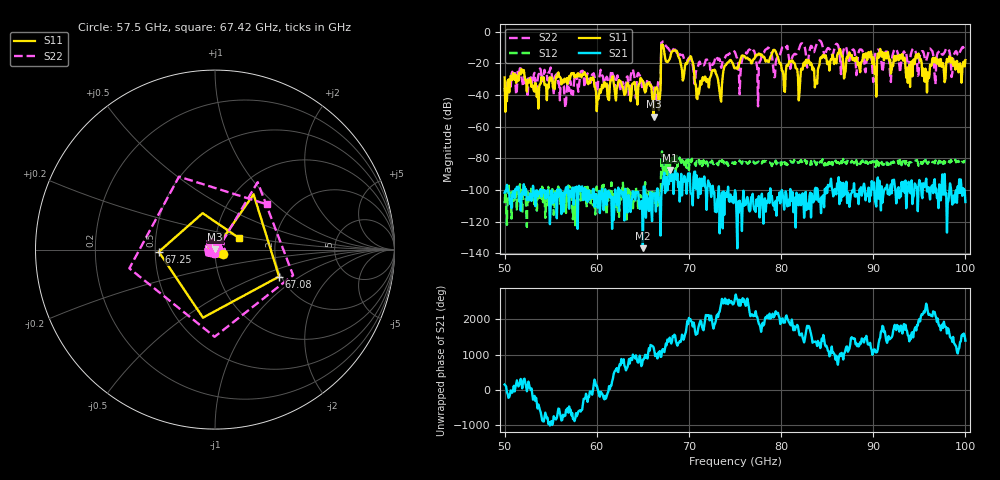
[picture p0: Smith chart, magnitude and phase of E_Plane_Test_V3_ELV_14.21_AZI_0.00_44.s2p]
! 11/26/2026 4:28:55 PM
! C:\ANRITSUVNA\TEMP\TEMP.S2P
! CHANNEL.1
! TR.MEASUREMENT
! RAW.DATA
# HZ S RI R 50.0
! FREQ.HZ  S11RE  S11IM  S21RE  S21IM  S12RE  S12IM  S22RE  S22IM
!; PortSelection: Port_12
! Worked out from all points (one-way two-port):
!   601 points, 50 GHz to 100 GHz, reference 50 ohm
!   highest |S21| = -87.44 dB at 67.92 GHz (marker M1); lowest = -137.0 dB at 65 GHz (marker M2)
!   lowest |S11| = -53.8 dB at 66.17 GHz (marker M3), VSWR 1.00, Z = 50.1 + j0.152 ohm
!   |S11| at or under -10 dB: start of sweep to 67 GHz; 67.25 GHz to end of sweep
!   |S22| runs from -48.2 to -5.6 dB; largest |S21 - S12| = 0.00015
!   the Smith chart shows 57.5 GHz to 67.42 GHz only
!   S11 on the Smith chart (normalised r, x): 57.5 GHz: 1.09, -0.05; 67.08 GHz: 1.95, -0.69; 67.25 GHz: 0.52, -0.01; 67.42 GHz: 1.29, +0.17
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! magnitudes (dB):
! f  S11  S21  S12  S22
! 50 GHz  -29.0  -101.8  -108.5  -35.5
! 57.5 GHz  -26.1  -109.4  -107.8  -34.6
! 58.42 GHz  -27.1  -97.8  -99.9  -24.8
! 60.17 GHz  -42.8  -109.7  -103.3  -30.3
! 65 GHz  -31.1  -137.0  -105.7  -31.9
! 66.17 GHz  -53.8  -102.3  -104.8  -34.0
! 66.67 GHz  -41.5  -100.7  -100.1  -31.6
! 67.08 GHz  -8.2  -97.6  -75.7  -6.8
! 67.25 GHz  -10.1  -91.7  -86.9  -6.2
! 67.42 GHz  -16.6  -102.0  -78.9  -8.3
! 67.92 GHz  -17.3  -87.4  -86.6  -12.0
! 70.25 GHz  -15.9  -102.6  -82.6  -18.7
! 70.92 GHz  -42.7  -95.1  -82.5  -23.2
! 75 GHz  -23.4  -100.2  -82.3  -13.0
! 77.58 GHz  -13.8  -103.9  -82.1  -21.7
! 78.5 GHz  -18.2  -108.1  -82.4  -10.8
! 79.33 GHz  -11.8  -112.8  -82.6  -28.7
! 80.25 GHz  -27.8  -106.3  -83.0  -9.4
! 83.42 GHz  -24.4  -106.3  -82.8  -10.8
! 91.67 GHz  -16.6  -100.2  -84.2  -15.2
! 95.83 GHz  -38.4  -101.0  -83.1  -16.5
! 100 GHz  -18.0  -107.7  -81.8  -12.5
